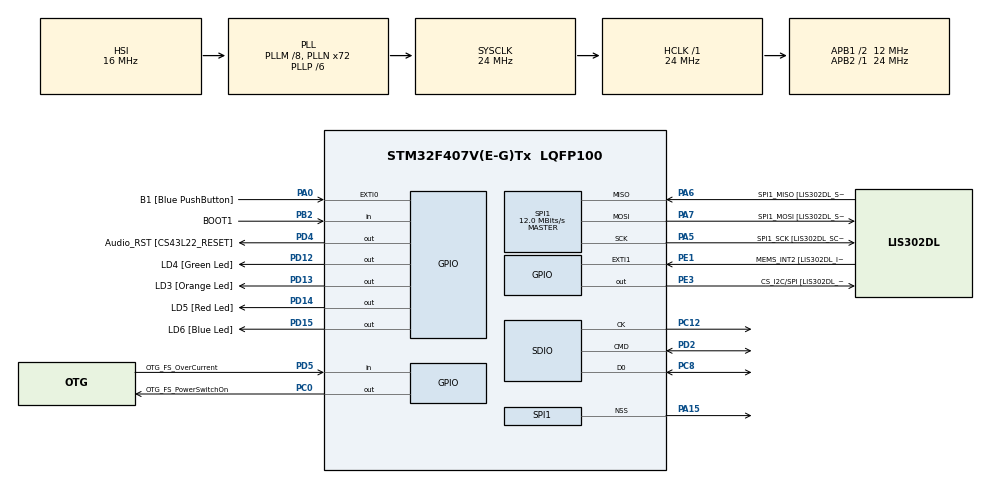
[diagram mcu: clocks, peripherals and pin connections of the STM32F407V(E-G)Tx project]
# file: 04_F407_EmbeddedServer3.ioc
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FATFS._MAX_SS=4096
FATFS._USE_LFN=1
Mcu.Family=STM32F4
Mcu.Name=STM32F407V(E-G)Tx
Mcu.Package=LQFP100
NVIC.PriorityGroup=NVIC_PRIORITYGROUP_0
PA0-WKUP.GPIO_Label=B1 [Blue PushButton]
PA0-WKUP.Signal=GPXTI0
PA10.GPIO_Label=OTG_FS_ID
PA10.GPIO_Mode=GPIO_MODE_AF_PP
PA10.GPIO_PuPd=GPIO_NOPULL
PA10.GPIO_Speed=GPIO_SPEED_FREQ_LOW
PA10.Signal=USB_OTG_FS_ID
PA11.GPIO_Label=OTG_FS_DM
PA11.GPIO_Mode=GPIO_MODE_AF_PP
PA11.GPIO_PuPd=GPIO_NOPULL
PA11.GPIO_Speed=GPIO_SPEED_FREQ_LOW
PA11.Signal=USB_OTG_FS_DM
PA12.GPIO_Label=OTG_FS_DP
PA12.GPIO_Mode=GPIO_MODE_AF_PP
PA12.GPIO_PuPd=GPIO_NOPULL
PA12.GPIO_Speed=GPIO_SPEED_FREQ_LOW
PA12.Signal=USB_OTG_FS_DP
PA13.GPIO_Label=SWDIO
PA13.Mode=Serial_Wire
PA13.Signal=SYS_JTMS-SWDIO
PA14.GPIO_Label=SWCLK
PA14.Mode=Serial_Wire
PA14.Signal=SYS_JTCK-SWCLK
PA15.Mode=NSS_Signal_Hard_Output
PA15.Signal=SPI1_NSS
PA4.GPIO_Label=I2S3_WS [CS43L22_LRCK]
PA4.GPIO_Mode=GPIO_MODE_AF_PP
PA4.GPIO_PuPd=GPIO_NOPULL
PA4.GPIO_Speed=GPIO_SPEED_FREQ_LOW
PA4.Signal=I2S3_WS
PA5.GPIO_Label=SPI1_SCK [LIS302DL_SCL/SPC]
PA5.GPIO_Mode=GPIO_MODE_AF_PP
PA5.GPIO_PuPd=GPIO_NOPULL
PA5.GPIO_Speed=GPIO_SPEED_FREQ_LOW
PA5.Mode=Full_Duplex_Master
PA5.Signal=SPI1_SCK
PA6.GPIO_Label=SPI1_MISO [LIS302DL_SDO]
PA6.GPIO_Mode=GPIO_MODE_AF_PP
PA6.GPIO_PuPd=GPIO_NOPULL
PA6.GPIO_Speed=GPIO_SPEED_FREQ_LOW
PA6.Mode=Full_Duplex_Master
PA6.Signal=SPI1_MISO
PA7.GPIO_Label=SPI1_MOSI [LIS302DL_SDA/SDI/SDO]
PA7.GPIO_Mode=GPIO_MODE_AF_PP
PA7.GPIO_PuPd=GPIO_NOPULL
PA7.GPIO_Speed=GPIO_SPEED_FREQ_LOW
PA7.Mode=Full_Duplex_Master
PA7.Signal=SPI1_MOSI
PA9.GPIO_Label=VBUS_FS
PA9.GPIO_Mode=GPIO_MODE_INPUT
PA9.GPIO_PuPd=GPIO_NOPULL
PA9.Signal=USB_OTG_FS_VBUS
PB10.GPIO_Label=CLK_IN [MP45DT02_CLK]
PB10.GPIO_Mode=GPIO_MODE_AF_PP
PB10.GPIO_PuPd=GPIO_NOPULL
PB10.GPIO_Speed=GPIO_SPEED_FREQ_LOW
PB10.Signal=I2S2_CK
PB2.GPIO_Label=BOOT1
PB2.GPIO_Mode=GPIO_MODE_INPUT
PB2.GPIO_PuPd=GPIO_NOPULL
PB2.Signal=GPIO_Input
PB3.GPIO_Label=SWO
PB3.Signal=SYS_JTDO-SWO
PB6.GPIO_Label=Audio_SCL [CS43L22_SCL]
PB6.GPIO_Mode=GPIO_MODE_AF_OD
PB6.GPIO_PuPd=GPIO_NOPULL
PB6.GPIO_Speed=GPIO_SPEED_FREQ_LOW
PB6.Signal=I2C1_SCL
PC0.GPIO_Label=OTG_FS_PowerSwitchOn
PC0.GPIO_PuPd=GPIO_NOPULL
PC0.GPIO_Speed=GPIO_SPEED_FREQ_LOW
PC0.PinState=GPIO_PIN_SET
PC0.Signal=GPIO_Output
PC12.Mode=SD_1_bit
PC12.Signal=SDIO_CK
PC14-OSC32_IN.GPIO_Label=PC14-OSC32_IN
PC14-OSC32_IN.Signal=RCC_OSC32_IN
PC15-OSC32_OUT.GPIO_Label=PC15-OSC32_OUT
PC15-OSC32_OUT.Signal=RCC_OSC32_OUT
PC3.GPIO_Label=PDM_OUT [MP45DT02_DOUT]
PC3.GPIO_Mode=GPIO_MODE_AF_PP
PC3.GPIO_PuPd=GPIO_NOPULL
PC3.GPIO_Speed=GPIO_SPEED_FREQ_LOW
PC3.Signal=I2S2_SD
PC8.GPIO_PuPd=GPIO_PULLUP
PC8.Mode=SD_1_bit
PC8.Signal=SDIO_D0
PD12.GPIO_Label=LD4 [Green Led]
PD12.GPIO_PuPd=GPIO_NOPULL
PD12.GPIO_Speed=GPIO_SPEED_FREQ_LOW
PD12.Signal=GPIO_Output
PD13.GPIO_Label=LD3 [Orange Led]
PD13.GPIO_PuPd=GPIO_NOPULL
PD13.GPIO_Speed=GPIO_SPEED_FREQ_LOW
PD13.Signal=GPIO_Output
PD14.GPIO_Label=LD5 [Red Led]
PD14.GPIO_PuPd=GPIO_NOPULL
PD14.GPIO_Speed=GPIO_SPEED_FREQ_LOW
PD14.Signal=GPIO_Output
PD15.GPIO_Label=LD6 [Blue Led]
PD15.GPIO_PuPd=GPIO_NOPULL
PD15.GPIO_Speed=GPIO_SPEED_FREQ_LOW
PD15.Signal=GPIO_Output
PD2.GPIO_PuPd=GPIO_PULLUP
PD2.Mode=SD_1_bit
PD2.Signal=SDIO_CMD
PD4.GPIO_Label=Audio_RST [CS43L22_RESET]
PD4.GPIO_PuPd=GPIO_NOPULL
PD4.GPIO_Speed=GPIO_SPEED_FREQ_LOW
PD4.Signal=GPIO_Output
PD5.GPIO_Label=OTG_FS_OverCurrent
PD5.GPIO_Mode=GPIO_MODE_INPUT
PD5.GPIO_PuPd=GPIO_NOPULL
PD5.Signal=GPIO_Input
PE1.GPIO_Label=MEMS_INT2 [LIS302DL_INT2]
PE1.GPIO_ModeDefaultEXTI=GPIO_MODE_EVT_RISING
PE1.GPIO_PuPd=GPIO_NOPULL
PE1.Signal=GPXTI1
PE3.GPIO_Label=CS_I2C/SPI [LIS302DL_CS_I2C/SPI]
PE3.GPIO_PuPd=GPIO_NOPULL
PE3.GPIO_Speed=GPIO_SPEED_FREQ_LOW
PE3.Signal=GPIO_Output
PH0-OSC_IN.GPIO_Label=PH0-OSC_IN
PH0-OSC_IN.Mode=HSE-External-Oscillator
PH0-OSC_IN.Signal=RCC_OSC_IN
PH1-OSC_OUT.GPIO_Label=PH1-OSC_OUT
PH1-OSC_OUT.Mode=HSE-External-Oscillator
PH1-OSC_OUT.Signal=RCC_OSC_OUT
ProjectManager.HeapSize=0x200
ProjectManager.StackSize=0x400
ProjectManager.TargetToolchain=STM32CubeIDE
RCC.48MHZClocksFreq_Value=20571428.57142857
RCC.AHBFreq_Value=24000000
RCC.APB1CLKDivider=RCC_HCLK_DIV2
RCC.APB1Freq_Value=12000000
RCC.APB1TimFreq_Value=24000000
RCC.APB2Freq_Value=24000000
RCC.APB2TimFreq_Value=24000000
RCC.CortexFreq_Value=24000000
RCC.HCLKFreq_Value=24000000
RCC.HSE_VALUE=8000000
RCC.HSI_VALUE=16000000
RCC.LSE_VALUE=32768
RCC.PLLM=8
RCC.PLLN=72
RCC.PLLP=RCC_PLLP_DIV6
RCC.PLLQ=7
RCC.SYSCLKFreq_VALUE=24000000
RCC.SYSCLKSource=RCC_SYSCLKSOURCE_PLLCLK
RCC.VCOOutputFreq_Value=144000000
SDIO.ClockDiv=2
SPI1.BaudRatePrescaler=SPI_BAUDRATEPRESCALER_2
SPI1.CalculateBaudRate=12.0 MBits/s
SPI1.Direction=SPI_DIRECTION_2LINES
SPI1.Mode=SPI_MODE_MASTER
SPI1.VirtualNSS=VM_NSSHARD
SPI1.VirtualType=VM_MASTER
VP_FATFS_VS_SDIO.Mode=SDIO
board=STM32F407G-DISC1

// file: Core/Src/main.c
/* USER CODE BEGIN Header */
/**
 ******************************************************************************
 * @file           : main.c
 * @brief          : Main program body
 ******************************************************************************
 * @attention
 *
 * Copyright (c) 2024 STMicroelectronics.
 * All rights reserved.
 *
 * This software is licensed under terms that can be found in the LICENSE file
 * in the root directory of this software component.
 * If no LICENSE file comes with this software, it is provided AS-IS.
 *
 ******************************************************************************
 */
/* USER CODE END Header */
#include "main.h"
#include "fatfs.h"

/* USER CODE BEGIN Includes */
#include "SD.h"
#include <stdio.h>
#include <string.h>
/* USER CODE END Includes */

SD_HandleTypeDef hsd;

SPI_HandleTypeDef hspi1;

/* USER CODE BEGIN PV */

/** Wi-Fi status variable. */
static bool gbConnectedWifi = false;

/* USER CODE END PV */

void SystemClock_Config(void);
static void MX_GPIO_Init(void);
static void MX_SPI1_Init(void);
static void MX_SDIO_SD_Init(void);
/* USER CODE BEGIN PFP */
extern void isr(void);
/** Message format definitions. */
typedef struct s_msg_wifi_product {
	uint8_t name[9];
} t_msg_wifi_product;

/** Socket for TCP communication */
SOCKET tcp_server_socket = -1;
static SOCKET tcp_client_socket = -1;

/** Wi-Fi connection state */
static uint8_t wifi_connected;	//I think this is redundant

/* USER CODE END PFP */

/* USER CODE BEGIN 0 */

/**
 * \brief Interrupt handler for WiFi EXTI GPIO 2. Call callback API.
 *
 * \param[in] None.
 * \retval    None.
 */
void EXTI15_10_IRQHandler(void) {
	uint16_t GPIO_Pin;

	/* Get GPIO_Pin */
	if (__HAL_GPIO_EXTI_GET_IT(CONF_WINC_SPI_INT_PIN)) {
		GPIO_Pin = CONF_WINC_SPI_INT_PIN;
	}

	HAL_GPIO_EXTI_IRQHandler(GPIO_Pin);
}

/**
 * @brief  EXTI line detection callback.
 * @param  GPIO_Pin: Specifies the port pin connected to corresponding EXTI line.
 * @retval None
 */
void HAL_GPIO_EXTI_Callback(uint16_t GPIO_Pin) {
	if (GPIO_Pin == CONF_WINC_SPI_INT_PIN) {
		isr();
	}
}

/**
 * \brief Callback to get the Data from socket.
 *
 * \param[in] sock socket handler.
 * \param[in] u8Msg socket event type. Possible values are:
 *  - SOCKET_MSG_BIND
 *  - SOCKET_MSG_LISTEN
 *  - SOCKET_MSG_ACCEPT
 *  - SOCKET_MSG_CONNECT
 *  - SOCKET_MSG_RECV
 *  - SOCKET_MSG_SEND
 *  - SOCKET_MSG_SENDTO
 *  - SOCKET_MSG_RECVFROM
 * \param[in] pvMsg is a pointer to message structure. Existing types are:
 *  - tstrSocketBindMsg
 *  - tstrSocketListenMsg
 *  - tstrSocketAcceptMsg
 *  - tstrSocketConnectMsg
 *  - tstrSocketRecvMsg
 */
static void socket_cb(SOCKET sock, uint8_t u8Msg, void *pvMsg) {
	switch (u8Msg) {
	/* Socket bind */
	case SOCKET_MSG_BIND: {
		tstrSocketBindMsg *pstrBind = (tstrSocketBindMsg*) pvMsg;
		if (pstrBind && pstrBind->status == 0) {
			printf("socket_cb: bind success!\r\n");
			listen(tcp_server_socket, 0);
		} else {
			//Handle bind error
		}
	}
		break;

		/* Socket listen */
	case SOCKET_MSG_LISTEN: {
		tstrSocketListenMsg *pstrListen = (tstrSocketListenMsg*) pvMsg;
		if (pstrListen && pstrListen->status == 0) {
			printf("socket_cb: listen success!\r\n");
			accept(tcp_server_socket, NULL, NULL);
		} else {
			printf("socket_cb: listen error!\r\n");
			close(tcp_server_socket);
			tcp_server_socket = -1;
		}
	}
		break;

		/* Connect accept */
	case SOCKET_MSG_ACCEPT: {
		tstrSocketAcceptMsg *pstrAccept = (tstrSocketAcceptMsg*) pvMsg;
		if (pstrAccept) {
			printf("socket_cb: accept success!\r\n");
			accept(tcp_server_socket, NULL, NULL);
			tcp_client_socket = pstrAccept->sock;
			//TODO: Check and report retval
			printf("accepted conection. Calling HTTP_Server\r\n");
			int ret = http_server(tcp_client_socket, httpNetops);
			if (ret != 0) {
				printf("http_server failed!\n");
				close(pstrAccept->sock);
				close(tcp_client_socket);
				tcp_client_socket = -1; // Reset socket variable
			}
		} else {
			printf("socket_cb: accept error!\r\n");
			close(tcp_server_socket);
			tcp_server_socket = -1;
		}
	}
		break;

		/* Message send */
	case SOCKET_MSG_SEND: {
	}
		break;

		/* Message receive */
	case SOCKET_MSG_RECV: {
	}
		break;

	default:
		break;
	}
	tcpServerSocketEventHandler(sock, u8Msg, pvMsg);
}

/**
 * \brief Callback to get the Wi-Fi status update.
 *
 * \param[in] u8MsgType type of Wi-Fi notification. Possible types are:
 *  - [M2M_WIFI_RESP_CON_STATE_CHANGED](@ref M2M_WIFI_RESP_CON_STATE_CHANGED)
 *  - [M2M_WIFI_REQ_DHCP_CONF](@ref M2M_WIFI_REQ_DHCP_CONF)
 * \param[in] pvMsg A pointer to a buffer containing the notification parameters
 * (if any). It should be casted to the correct data type corresponding to the
 * notification type.
 */
static void wifi_cb(uint8_t u8MsgType, void *pvMsg) {
	switch (u8MsgType) {
	case M2M_WIFI_RESP_CON_STATE_CHANGED: {
		tstrM2mWifiStateChanged *pstrWifiState =
				(tstrM2mWifiStateChanged*) pvMsg;
		if (pstrWifiState->u8CurrState == M2M_WIFI_CONNECTED) {
		} else if (pstrWifiState->u8CurrState == M2M_WIFI_DISCONNECTED) {
			printf("Station disconnected\r\n");
		}

		break;
	}

	case M2M_WIFI_REQ_DHCP_CONF: {
		uint8_t *pu8IPAddress = (uint8_t*) pvMsg;
		printf("Station connected\r\n");
		printf("Station IP is %u.%u.%u.%u\r\n", pu8IPAddress[0],
				pu8IPAddress[1], pu8IPAddress[2], pu8IPAddress[3]);
		wifi_connected = M2M_WIFI_CONNECTED;
		break;
	}

	default: {
		break;
	}
	}
}

/* USER CODE END 0 */

int main(void)
{

  /* USER CODE BEGIN 1 */
	tstrWifiInitParam param;
	int8_t ret;
	struct sockaddr_in addr;

	////////////////////////
	tstrM2MAPConfig strM2MAPConfig;
	uint8_t mac_addr[6];
	uint8_t u8IsMacAddrValid;
	////////////////////////

	/* STM32F4xx HAL library initialization:
	 - Configure the Flash prefetch
	 - Systick timer is configured by default as source of time base, but user
	 can eventually implement his proper time base source (a general purpose
	 timer for example or other time source), keeping in mind that Time base
	 duration should be kept 1ms since PPP_TIMEOUT_VALUEs are defined and
	 handled in milliseconds basis.
	 - Set NVIC Group Priority to 4
	 - Low Level Initialization
	 */
  /* USER CODE END 1 */

  /* MCU Configuration--------------------------------------------------------*/

  /* Reset of all peripherals, Initializes the Flash interface and the Systick. */
  HAL_Init();

  /* Configure the system clock */
  SystemClock_Config();

  /* Initialize all configured peripherals */
  MX_GPIO_Init();
  MX_SPI1_Init();
  MX_SDIO_SD_Init();
  MX_FATFS_Init();
  /* USER CODE BEGIN 2 */
  SD_Card_Init();
	/* Initialize the BSP. */
	nm_bsp_init();

	/* Initialize socket address structure. */
	addr.sin_family = AF_INET;
	addr.sin_port = _htons(MAIN_WIFI_M2M_SERVER_PORT);
	addr.sin_addr.s_addr = 0;

	/* Initialize Wi-Fi parameters structure. */
	memset((uint8_t*) &param, 0, sizeof(tstrWifiInitParam));

	/* Initialize Wi-Fi driver with data and status callbacks. */
	param.pfAppWifiCb = wifi_cb;
	ret = m2m_wifi_init(&param);
	if ((M2M_SUCCESS != ret) && (ret != M2M_ERR_FW_VER_MISMATCH)) {
		printf("main: m2m_wifi_init call error!(%d)\r\n", ret);
		while (1) {
		}
	}

	/* Initialize socket module */
	socketInit();
	registerSocketCallback(socket_cb, NULL);

	/* Initialize AP mode parameters structure with SSID, channel and OPEN security type. */
	memset(&strM2MAPConfig, 0x00, sizeof(tstrM2MAPConfig));
	strcpy((char*) &strM2MAPConfig.au8SSID, MAIN_WLAN_SSID);
	strM2MAPConfig.u8ListenChannel = MAIN_WLAN_CHANNEL;
	strM2MAPConfig.u8SecType = MAIN_WLAN_AUTH;

	strM2MAPConfig.au8DHCPServerIP[0] = 192;
	strM2MAPConfig.au8DHCPServerIP[1] = 168;
	strM2MAPConfig.au8DHCPServerIP[2] = 1;
	strM2MAPConfig.au8DHCPServerIP[3] = 9;

#if USE_WEP
	strcpy((char*) &strM2MAPConfig.au8WepKey, MAIN_WLAN_WEP_KEY);
	strM2MAPConfig.u8KeySz = strlen(MAIN_WLAN_WEP_KEY);
	strM2MAPConfig.u8KeyIndx = MAIN_WLAN_WEP_KEY_INDEX;
#endif

	/* Bring up AP mode with parameters structure. */
	ret = m2m_wifi_enable_ap(&strM2MAPConfig);
	if (M2M_SUCCESS != ret) {
		printf("main: m2m_wifi_enable_ap call error!\r\n");
		while (1) {
		}
	}

	printf("AP mode started. You can connect to %s.\r\n",
			(char*) MAIN_WLAN_SSID);
//	/* Connect to router. */
//	ret = m2m_wifi_connect((char*) MAIN_WLAN_SSID, sizeof(MAIN_WLAN_SSID),
//	MAIN_WLAN_AUTH, (char*) MAIN_WLAN_PSK, M2M_WIFI_CH_ALL);
//	if (M2M_SUCCESS != ret) {
//		printf("main: m2m_wifi_init call error!(%d)\r\n", ret);
//		while (1) {
//		}
//	}
	//inint web server
	http_server_WINC15x0_init();
  /* USER CODE END 2 */

  /* Infinite loop */
  /* USER CODE BEGIN WHILE */
	while (1) {
		m2m_wifi_handle_events(NULL);

		if (wifi_connected == M2M_WIFI_CONNECTED) {
			if (tcp_server_socket < 0) {
				/* Open TCP server socket */
				if ((tcp_server_socket = socket(AF_INET, SOCK_STREAM, 0)) < 0) {
					printf(
							"main: failed to create TCP server socket error!\r\n");
					continue;
				}

				/* Bind service*/
				bind(tcp_server_socket, (struct sockaddr*) &addr,
						sizeof(struct sockaddr_in));
			}
		}
    /* USER CODE END WHILE */

	}
}

void SystemClock_Config(void)
{
  RCC_OscInitTypeDef RCC_OscInitStruct = {0};
  RCC_ClkInitTypeDef RCC_ClkInitStruct = {0};

  /** Configure the main internal regulator output voltage
  */
  __HAL_RCC_PWR_CLK_ENABLE();
  __HAL_PWR_VOLTAGESCALING_CONFIG(PWR_REGULATOR_VOLTAGE_SCALE1);

  /** Initializes the RCC Oscillators according to the specified parameters
  * in the RCC_OscInitTypeDef structure.
  */
  RCC_OscInitStruct.OscillatorType = RCC_OSCILLATORTYPE_HSI;
  RCC_OscInitStruct.HSIState = RCC_HSI_ON;
  RCC_OscInitStruct.HSICalibrationValue = RCC_HSICALIBRATION_DEFAULT;
  RCC_OscInitStruct.PLL.PLLState = RCC_PLL_ON;
  RCC_OscInitStruct.PLL.PLLSource = RCC_PLLSOURCE_HSI;
  RCC_OscInitStruct.PLL.PLLM = 8;
  RCC_OscInitStruct.PLL.PLLN = 72;
  RCC_OscInitStruct.PLL.PLLP = RCC_PLLP_DIV6;
  RCC_OscInitStruct.PLL.PLLQ = 7;
  if (HAL_RCC_OscConfig(&RCC_OscInitStruct) != HAL_OK)
  {
    Error_Handler();
  }

  /** Initializes the CPU, AHB and APB buses clocks
  */
  RCC_ClkInitStruct.ClockType = RCC_CLOCKTYPE_HCLK|RCC_CLOCKTYPE_SYSCLK
                              |RCC_CLOCKTYPE_PCLK1|RCC_CLOCKTYPE_PCLK2;
  RCC_ClkInitStruct.SYSCLKSource = RCC_SYSCLKSOURCE_PLLCLK;
  RCC_ClkInitStruct.AHBCLKDivider = RCC_SYSCLK_DIV1;
  RCC_ClkInitStruct.APB1CLKDivider = RCC_HCLK_DIV2;
  RCC_ClkInitStruct.APB2CLKDivider = RCC_HCLK_DIV1;

  if (HAL_RCC_ClockConfig(&RCC_ClkInitStruct, FLASH_LATENCY_0) != HAL_OK)
  {
    Error_Handler();
  }
}

static void MX_SDIO_SD_Init(void)
{

  hsd.Instance = SDIO;
  hsd.Init.ClockEdge = SDIO_CLOCK_EDGE_RISING;
  hsd.Init.ClockBypass = SDIO_CLOCK_BYPASS_DISABLE;
  hsd.Init.ClockPowerSave = SDIO_CLOCK_POWER_SAVE_DISABLE;
  hsd.Init.BusWide = SDIO_BUS_WIDE_1B;
  hsd.Init.HardwareFlowControl = SDIO_HARDWARE_FLOW_CONTROL_DISABLE;
  hsd.Init.ClockDiv = 2;

}

static void MX_SPI1_Init(void)
{

  /* SPI1 parameter configuration*/
  hspi1.Instance = SPI1;
  hspi1.Init.Mode = SPI_MODE_MASTER;
  hspi1.Init.Direction = SPI_DIRECTION_2LINES;
  hspi1.Init.DataSize = SPI_DATASIZE_8BIT;
  hspi1.Init.CLKPolarity = SPI_POLARITY_LOW;
  hspi1.Init.CLKPhase = SPI_PHASE_1EDGE;
  hspi1.Init.NSS = SPI_NSS_HARD_OUTPUT;
  hspi1.Init.BaudRatePrescaler = SPI_BAUDRATEPRESCALER_2;
  hspi1.Init.FirstBit = SPI_FIRSTBIT_MSB;
  hspi1.Init.TIMode = SPI_TIMODE_DISABLE;
  hspi1.Init.CRCCalculation = SPI_CRCCALCULATION_DISABLE;
  hspi1.Init.CRCPolynomial = 10;
  if (HAL_SPI_Init(&hspi1) != HAL_OK)
  {
    Error_Handler();
  }

}

static void MX_GPIO_Init(void)
{
  GPIO_InitTypeDef GPIO_InitStruct = {0};

  /* GPIO Ports Clock Enable */
  __HAL_RCC_GPIOE_CLK_ENABLE();
  __HAL_RCC_GPIOC_CLK_ENABLE();
  __HAL_RCC_GPIOH_CLK_ENABLE();
  __HAL_RCC_GPIOA_CLK_ENABLE();
  __HAL_RCC_GPIOB_CLK_ENABLE();
  __HAL_RCC_GPIOD_CLK_ENABLE();

  /*Configure GPIO pin Output Level */
  HAL_GPIO_WritePin(CS_I2C_SPI_GPIO_Port, CS_I2C_SPI_Pin, GPIO_PIN_RESET);

  /*Configure GPIO pin Output Level */
  HAL_GPIO_WritePin(OTG_FS_PowerSwitchOn_GPIO_Port, OTG_FS_PowerSwitchOn_Pin, GPIO_PIN_SET);

  /*Configure GPIO pin Output Level */
  HAL_GPIO_WritePin(GPIOD, LD4_Pin|LD3_Pin|LD5_Pin|LD6_Pin
                          |Audio_RST_Pin, GPIO_PIN_RESET);

  /*Configure GPIO pin : CS_I2C_SPI_Pin */
  GPIO_InitStruct.Pin = CS_I2C_SPI_Pin;
  GPIO_InitStruct.Mode = GPIO_MODE_OUTPUT_PP;
  GPIO_InitStruct.Pull = GPIO_NOPULL;
  GPIO_InitStruct.Speed = GPIO_SPEED_FREQ_LOW;
  HAL_GPIO_Init(CS_I2C_SPI_GPIO_Port, &GPIO_InitStruct);

  /*Configure GPIO pin : OTG_FS_PowerSwitchOn_Pin */
  GPIO_InitStruct.Pin = OTG_FS_PowerSwitchOn_Pin;
  GPIO_InitStruct.Mode = GPIO_MODE_OUTPUT_PP;
  GPIO_InitStruct.Pull = GPIO_NOPULL;
  GPIO_InitStruct.Speed = GPIO_SPEED_FREQ_LOW;
  HAL_GPIO_Init(OTG_FS_PowerSwitchOn_GPIO_Port, &GPIO_InitStruct);

  /*Configure GPIO pin : PDM_OUT_Pin */
  GPIO_InitStruct.Pin = PDM_OUT_Pin;
  GPIO_InitStruct.Mode = GPIO_MODE_AF_PP;
  GPIO_InitStruct.Pull = GPIO_NOPULL;
  GPIO_InitStruct.Speed = GPIO_SPEED_FREQ_LOW;
  GPIO_InitStruct.Alternate = GPIO_AF5_SPI2;
  HAL_GPIO_Init(PDM_OUT_GPIO_Port, &GPIO_InitStruct);

  /*Configure GPIO pin : B1_Pin */
  GPIO_InitStruct.Pin = B1_Pin;
  GPIO_InitStruct.Mode = GPIO_MODE_IT_RISING;
  GPIO_InitStruct.Pull = GPIO_NOPULL;
  HAL_GPIO_Init(B1_GPIO_Port, &GPIO_InitStruct);

  /*Configure GPIO pin : I2S3_WS_Pin */
  GPIO_InitStruct.Pin = I2S3_WS_Pin;
  GPIO_InitStruct.Mode = GPIO_MODE_AF_PP;
  GPIO_InitStruct.Pull = GPIO_NOPULL;
  GPIO_InitStruct.Speed = GPIO_SPEED_FREQ_LOW;
  GPIO_InitStruct.Alternate = GPIO_AF6_SPI3;
  HAL_GPIO_Init(I2S3_WS_GPIO_Port, &GPIO_InitStruct);

  /*Configure GPIO pin : BOOT1_Pin */
  GPIO_InitStruct.Pin = BOOT1_Pin;
  GPIO_InitStruct.Mode = GPIO_MODE_INPUT;
  GPIO_InitStruct.Pull = GPIO_NOPULL;
  HAL_GPIO_Init(BOOT1_GPIO_Port, &GPIO_InitStruct);

  /*Configure GPIO pin : CLK_IN_Pin */
  GPIO_InitStruct.Pin = CLK_IN_Pin;
  GPIO_InitStruct.Mode = GPIO_MODE_AF_PP;
  GPIO_InitStruct.Pull = GPIO_NOPULL;
  GPIO_InitStruct.Speed = GPIO_SPEED_FREQ_LOW;
  GPIO_InitStruct.Alternate = GPIO_AF5_SPI2;
  HAL_GPIO_Init(CLK_IN_GPIO_Port, &GPIO_InitStruct);

  /*Configure GPIO pins : LD4_Pin LD3_Pin LD5_Pin LD6_Pin
                           Audio_RST_Pin */
  GPIO_InitStruct.Pin = LD4_Pin|LD3_Pin|LD5_Pin|LD6_Pin
                          |Audio_RST_Pin;
  GPIO_InitStruct.Mode = GPIO_MODE_OUTPUT_PP;
  GPIO_InitStruct.Pull = GPIO_NOPULL;
  GPIO_InitStruct.Speed = GPIO_SPEED_FREQ_LOW;
  HAL_GPIO_Init(GPIOD, &GPIO_InitStruct);

  /*Configure GPIO pin : VBUS_FS_Pin */
  GPIO_InitStruct.Pin = VBUS_FS_Pin;
  GPIO_InitStruct.Mode = GPIO_MODE_INPUT;
  GPIO_InitStruct.Pull = GPIO_NOPULL;
  HAL_GPIO_Init(VBUS_FS_GPIO_Port, &GPIO_InitStruct);

  /*Configure GPIO pins : OTG_FS_ID_Pin OTG_FS_DM_Pin OTG_FS_DP_Pin */
  GPIO_InitStruct.Pin = OTG_FS_ID_Pin|OTG_FS_DM_Pin|OTG_FS_DP_Pin;
  GPIO_InitStruct.Mode = GPIO_MODE_AF_PP;
  GPIO_InitStruct.Pull = GPIO_NOPULL;
  GPIO_InitStruct.Speed = GPIO_SPEED_FREQ_LOW;
  GPIO_InitStruct.Alternate = GPIO_AF10_OTG_FS;
  HAL_GPIO_Init(GPIOA, &GPIO_InitStruct);

  /*Configure GPIO pin : OTG_FS_OverCurrent_Pin */
  GPIO_InitStruct.Pin = OTG_FS_OverCurrent_Pin;
  GPIO_InitStruct.Mode = GPIO_MODE_INPUT;
  GPIO_InitStruct.Pull = GPIO_NOPULL;
  HAL_GPIO_Init(OTG_FS_OverCurrent_GPIO_Port, &GPIO_InitStruct);

  /*Configure GPIO pin : Audio_SCL_Pin */
  GPIO_InitStruct.Pin = Audio_SCL_Pin;
  GPIO_InitStruct.Mode = GPIO_MODE_AF_OD;
  GPIO_InitStruct.Pull = GPIO_NOPULL;
  GPIO_InitStruct.Speed = GPIO_SPEED_FREQ_LOW;
  GPIO_InitStruct.Alternate = GPIO_AF4_I2C1;
  HAL_GPIO_Init(Audio_SCL_GPIO_Port, &GPIO_InitStruct);

  /*Configure GPIO pin : MEMS_INT2_Pin */
  GPIO_InitStruct.Pin = MEMS_INT2_Pin;
  GPIO_InitStruct.Mode = GPIO_MODE_EVT_RISING;
  GPIO_InitStruct.Pull = GPIO_NOPULL;
  HAL_GPIO_Init(MEMS_INT2_GPIO_Port, &GPIO_InitStruct);

}

void Error_Handler(void)
{
	__disable_irq();
	while (1) {
	}
}
